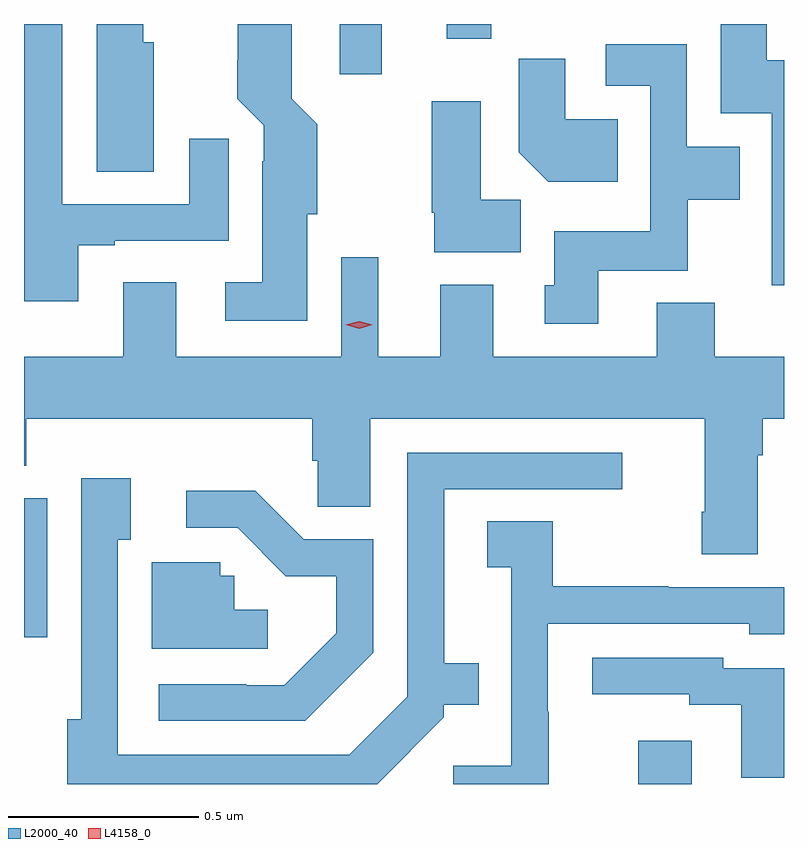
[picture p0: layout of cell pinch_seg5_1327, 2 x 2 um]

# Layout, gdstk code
import gdstk
lib = gdstk.Library(unit=1e-6, precision=1e-09)
def R(c, l, rs):  # rectangles x0, y0, x1, y1
    for r in rs: c.add(gdstk.rectangle(r[:2], r[2:], *l))
def P(c, l, *ps):  # polygons
    for p in ps: c.add(gdstk.Polygon(p, *l))
L2000_40 = (2000, 40)
L4158_0 = (4158, 0)

pinch_seg5_1327 = lib.new_cell('pinch_seg5_1327')
R(pinch_seg5_1327, L2000_40, [(419.645,853.135,419.785,853.249), (418.028,853.521,418.089,853.887), (418.859,855.003,418.969,855.135), (419.141,855.096,419.258,855.135)])
P(pinch_seg5_1327, L2000_40, [(420.028,855.039),(419.983,855.039),(419.983,855.135),(419.861,855.135),(419.861,854.9),(419.996,854.9),(419.996,854.448),(420.028,854.448)],
  [(418.774,854.634),(418.8,854.634),(418.8,854.871),(418.733,854.938),(418.733,855.037),(418.732,855.037),(418.732,855.135),(418.59,855.135),(418.59,855.04),(418.589,855.04),(418.589,854.938),(418.659,854.868),(418.659,854.774),(418.655,854.774),(418.655,854.455),(418.557,854.455),(418.557,854.354),(418.774,854.354)],
  [(418.369,855.087),(418.342,855.087),(418.342,855.135),(418.22,855.135),(418.22,854.746),(418.369,854.746)],
  [(418.171,854.553),(418.267,854.553),(418.267,854.565),(418.567,854.565),(418.567,854.833),(418.463,854.833),(418.463,854.661),(418.129,854.661),(418.129,855.135),(418.028,855.135),(418.028,854.406),(418.171,854.406)],
  [(419.539,854.486),(419.775,854.486),(419.775,854.672),(419.911,854.672),(419.911,854.812),(419.772,854.812),(419.772,855.082),(419.559,855.082),(419.559,854.973),(419.676,854.973),(419.676,854.59),(419.423,854.59),(419.423,854.448),(419.399,854.448),(419.399,854.346),(419.539,854.346)],
  [(419.591,854.884),(419.452,854.884),(419.452,855.043),(419.33,855.043),(419.33,854.798),(419.408,854.72),(419.591,854.72)],
  [(419.335,854.672),(419.23,854.672),(419.23,854.932),(419.101,854.932),(419.101,854.638),(419.108,854.638),(419.108,854.534),(419.335,854.534)],
  [(419.959,854),(419.972,854),(419.972,854.096),(420.028,854.096),(420.028,854.26),(419.846,854.26),(419.846,854.401),(419.693,854.401),(419.693,854.26),(419.263,854.26),(419.263,854.449),(419.123,854.449),(419.123,854.26),(418.96,854.26),(418.96,854.521),(418.863,854.521),(418.863,854.26),(418.429,854.26),(418.429,854.455),(418.289,854.455),(418.289,854.26),(418.028,854.26),(418.028,853.972),(418.034,853.972),(418.034,854.096),(418.787,854.096),(418.787,853.986),(418.801,853.986),(418.801,853.864),(418.939,853.864),(418.939,854.096),(419.819,854.096),(419.819,853.852),(419.812,853.852),(419.812,853.74),(419.959,853.74)],
  [(419.133,853.311),(419.133,853.343),(419.225,853.343),(419.225,853.453),(419.134,853.453),(419.134,853.911),(419.602,853.911),(419.602,854.007),(419.037,854.007),(419.037,853.365),(418.884,853.212),(418.275,853.212),(418.275,853.778),(418.309,853.778),(418.309,853.939),(418.179,853.939),(418.179,853.306),(418.142,853.306),(418.142,853.135),(418.957,853.135)],
  [(418.947,853.481),(418.947,853.779),(418.764,853.779),(418.636,853.907),(418.455,853.907),(418.455,853.809),(418.59,853.809),(418.717,853.682),(418.85,853.682),(418.85,853.532),(418.713,853.395),(418.613,853.395),(418.613,853.398),(418.383,853.398),(418.383,853.302),(418.768,853.302)],
  [(419.409,853.325),(419.406,853.325),(419.406,853.557),(419.937,853.557),(419.937,853.529),(420.028,853.529),(420.028,853.653),(419.723,853.653),(419.723,853.656),(419.419,853.656),(419.419,853.826),(419.247,853.826),(419.247,853.705),(419.31,853.705),(419.31,853.183),(419.157,853.183),(419.157,853.135),(419.409,853.135)],
  [(418.669,853.594),(418.581,853.594),(418.581,853.683),(418.545,853.683),(418.545,853.719),(418.364,853.719),(418.364,853.491),(418.669,853.491)],
  [(420.028,853.44),(419.868,853.44),(419.868,853.467),(419.523,853.467),(419.523,853.371),(419.778,853.371),(419.778,853.344),(419.915,853.344),(419.915,853.152),(420.028,853.152)])
P(pinch_seg5_1327, L4158_0, [(418.91,854.333),(418.875,854.343),(418.875,854.343),(418.875,854.343),(418.91,854.353),(418.945,854.343),(418.945,854.343),(418.945,854.343)])

lib.write_gds('pinch_seg5_1327.gds')
